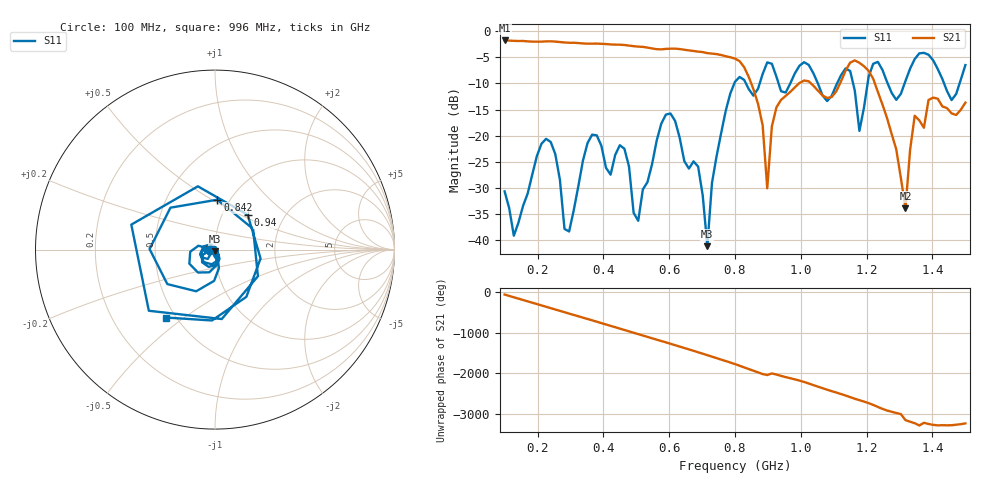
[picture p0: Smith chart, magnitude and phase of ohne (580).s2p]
! NanoVNA-App
! Date: 2025-09-25 14:25:19
! Start: 100MHz Stop: 1,5GHz Points: 101
! S-Parameter data: F S11 S21 S12 S22
# Hz S RI R 50
!  Frequency  S11_Real  S11_Imag  S21_Real  S21_Imag  S12_Real  S12_Imag  S22_Real  S22_Imag
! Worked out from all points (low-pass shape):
!   101 points, 100 MHz to 1.5 GHz, reference 50 ohm
!   highest |S21| = -1.79 dB at 100 MHz (marker M1); lowest = -33.8 dB at 1.318 GHz (marker M2)
!   |S21| within 3 dB of the highest: start of sweep to 770.9 MHz
!   lowest |S11| = -41.1 dB at 716 MHz (marker M3), VSWR 1.02, Z = 49.9 - j0.866 ohm
!   |S11| at or under -10 dB: start of sweep to 798 MHz; 833.2 MHz to 875.1 MHz (41.88 MHz wide, 4.9 % of centre); 1.052 GHz to 1.11 GHz (58.43 MHz wide, 5.41 % of centre) (the widest 3 of 7)
!   S12 and S22 are empty: the file has one direction only
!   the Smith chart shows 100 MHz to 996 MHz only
!   S11 on the Smith chart (normalised r, x): 100 MHz: 0.94, -0.01; 842 MHz: 0.88, +0.53; 940 MHz: 1.31, +0.55; 996 MHz: 0.44, -0.43
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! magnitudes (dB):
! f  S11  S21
! 100 MHz  -30.6  -1.8
! 128 MHz  -39.1  -1.9
! 226 MHz  -20.6  -2.0
! 296 MHz  -38.3  -2.2
! 338 MHz  -24.8  -2.4
! 464 MHz  -22.5  -2.7
! 506 MHz  -36.3  -3.0
! 576 MHz  -17.7  -3.5
! 688 MHz  -25.9  -3.9
! 716 MHz  -41.1  -4.2
! 800 MHz  -9.7  -5.3
! 842 MHz  -11.1  -8.8
! 898 MHz  -6.0  -30.1
! 940 MHz  -11.5  -13.1
! 996 MHz  -6.6  -9.9
! 1.038 GHz  -8.0  -10.4
! 1.178 GHz  -19.1  -6.1
! 1.22 GHz  -6.2  -9.1
! 1.276 GHz  -11.8  -19.7
! 1.318 GHz  -9.5  -33.8
! 1.346 GHz  -5.4  -16.2
! 1.5 GHz  -6.5  -13.7
